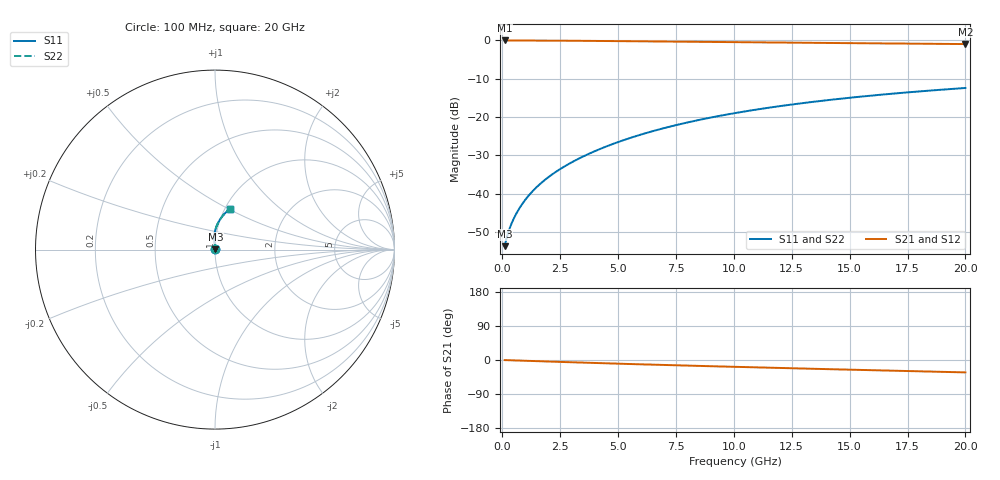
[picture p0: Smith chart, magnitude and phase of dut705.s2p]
! Touchstone file exported from HFSS 2024.1.0
!  File:  C:/UserFiles/LocalFiles/RDL_TSV_Batchsim/temp_RDL_top_705_1779849969.aedt
!  Generated:  10:48:26 AM May 27, 2026
!  Design:  RDL_top
!  Project:  temp_RDL_top_705_1779849969
!  Setup:  Setup1
!  Solution:  Sweep
! Variables:
!  dtsv = 10.80580581um
!  hbump = 3um
!  htsv = 80.5um
!  ldown = 100um
!  lrdl = 500.23um
!  p = 40
!  p1 = 48.41um
!  rhole = 1um
!  t = 450um
!  tdown = 3.915915916um
!  trdl = 3.92um
!  wdown = 15.38538539um
!  wrdl = 29.05um
# GHz S MA R 50.000000
! Terminal data exported
! Port[1] = Box2_T1
! Port[2] = Box2_T2
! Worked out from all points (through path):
!   200 points, 100 MHz to 20 GHz, reference 50 ohm
!   highest |S21| = -0.02 dB at 100 MHz (marker M1); lowest = -1.0 dB at 20 GHz (marker M2)
!   group delay of S21, straight-line fit = 4.47 ps
!   lowest |S11| = -53.6 dB at 100 MHz (marker M3), VSWR 1.00, Z = 50.2 + j0.103 ohm
!   |S11| at or under -10 dB: start of sweep to end of sweep
!   |S22| runs from -53.6 to -12.4 dB; largest |S21 - S12| = 3e-15
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0.1  0.002078 29.5  0.9982 -0.2  0.9982 -0.2  0.002078 29.5
! Gamma 0 0 0 0
! Port Impedance 50 0 50 0
0.2  0.002749 44.5  0.998 -0.4  0.998 -0.4  0.002749 44.5
0.3  0.003435 52.7  0.9978 -0.6  0.9978 -0.6  0.003435 52.7
0.4  0.00411 58.5  0.9976 -0.8  0.9976 -0.8  0.00411 58.5
0.5  0.00479 63.0  0.9975 -1.0  0.9975 -1.0  0.00479 63.0
0.8  0.006923 72.4  0.997 -1.6  0.997 -1.6  0.006923 72.4
1  0.00842 76.4  0.9966 -2.0  0.9966 -2.0  0.00842 76.4
1.2  0.009967 79.5  0.9962 -2.4  0.9962 -2.4  0.009967 79.5
1.7  0.01402 84.8  0.9949 -3.4  0.9949 -3.4  0.01402 84.8
2.2  0.01833 88.1  0.9932 -4.4  0.9932 -4.4  0.01833 88.1
2.8  0.02384 90.8  0.9907 -5.6  0.9907 -5.6  0.02384 90.8
3.5  0.03076 92.8  0.9873 -6.9  0.9873 -6.9  0.03076 92.8
4.2  0.0382 93.9  0.9835 -8.3  0.9835 -8.3  0.0382 93.9
5  0.04728 94.4  0.9788 -9.7  0.9788 -9.7  0.04728 94.4
5.9  0.05812 94.2  0.9733 -11.3  0.9733 -11.3  0.05812 94.2
6.8  0.06949 93.5  0.9677 -12.8  0.9677 -12.8  0.06949 93.5
8.4  0.09057 91.4  0.9577 -15.4  0.9577 -15.4  0.09056 91.4
10.1  0.1135 88.5  0.9476 -18.1  0.9476 -18.1  0.1135 88.5
11.7  0.1352 85.5  0.9385 -20.6  0.9385 -20.6  0.1352 85.5
13.4  0.1579 82.3  0.9293 -23.2  0.9293 -23.2  0.1579 82.3
16.7  0.2003 76.1  0.9121 -28.0  0.9121 -28.0  0.2002 76.1
20  0.2397 70.2  0.8957 -32.7  0.8957 -32.7  0.2397 70.2
